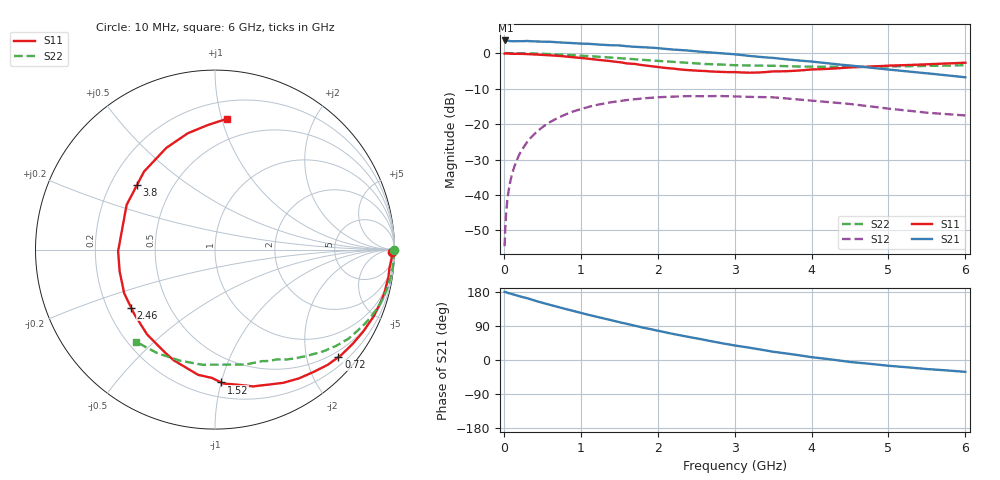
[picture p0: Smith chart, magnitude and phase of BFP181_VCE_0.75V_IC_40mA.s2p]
! Infineon Technologies  Discrete & RF Semiconductors
! BFP181
! VCE = 0.75V,  IC =  40 mA
! Common Emitter S-Parameters:  Jan 2016
# GHz  S  MA  R  50
!  f  S11  S21  S12  S22
! GHz  MAG  ANG  MAG  ANG  MAG  ANG  MAG  ANG
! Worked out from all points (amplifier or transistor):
!   210 points, 10 MHz to 6 GHz, reference 50 ohm
!   highest |S21| = 3.6 dB at 20 MHz (marker M1)
!   |S21| within 3 dB of that: start of sweep to 2.469 GHz
!   unconditionally stable (mu >= 1): 3.598 GHz to end of sweep
!   at 185 MHz: K = 0.07, MSG = 16.4 dB, |S12| = -29.4 dB
!   at 1.52 GHz: K = 0.51, MSG = 7.8 dB, |S12| = -13.5 dB
!   at 6 GHz: K = 1.65, MAG = 0.7 dB, |S12| = -17.6 dB
!   S11 on the Smith chart (normalised r, x): 10 MHz: open; 720 MHz: 0.37, -2.62; 1.52 GHz: 0.30, -1.00; 2.46 GHz: 0.30, -0.29; 3.8 GHz: 0.31, +0.33; 6 GHz: 0.33, +1.04
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0.01  0.9841 -0.7  1.49 179.8  0.0019 87.0  0.9982 -0.2
0.02  0.9912 -1.2  1.506 179.6  0.0038 84.4  0.9974 -0.6
0.03  0.9893 -1.7  1.5 178.8  0.0056 86.9  0.9975 -0.9
0.045  0.9866 -2.4  1.491 177.6  0.0084 88.6  0.9978 -1.4
0.08  0.9803 -4.6  1.476 175.5  0.0148 85.8  0.9971 -2.4
0.13  0.9775 -7.7  1.47 172.5  0.0238 83.7  0.996 -3.9
0.2  0.9746 -11.5  1.474 168.4  0.0369 81.8  0.9954 -6.0
0.4  0.959 -22.8  1.461 156.9  0.0729 73.4  0.986 -11.9
0.72  0.9118 -41.1  1.414 139.0  0.1247 59.8  0.9554 -21.1
1.02  0.851 -58.2  1.358 123.4  0.1646 48.0  0.9172 -29.0
1.3  0.7914 -74.4  1.307 109.6  0.1945 37.7  0.8777 -36.0
1.52  0.7407 -87.4  1.275 99.0  0.2117 30.5  0.8434 -40.8
2.02  0.6323 -117.3  1.169 76.5  0.239 16.1  0.7755 -50.2
2.46  0.5683 -145.3  1.069 58.8  0.2471 4.2  0.7205 -58.2
2.8  0.545 -167.1  1 45.4  0.2485 -3.6  0.6926 -63.6
3.1  0.5321 175.4  0.935 35.4  0.2429 -10.2  0.6712 -68.7
3.5  0.5517 153.2  0.855 21.8  0.2381 -17.8  0.6624 -75.3
3.8  0.5642 140.3  0.792 13.6  0.2235 -22.5  0.6484 -81.3
4.1  0.5915 128.8  0.739 5.2  0.2098 -27.2  0.6417 -87.6
4.5  0.6283 115.6  0.668 -5.2  0.1916 -32.8  0.6453 -96.3
5.1  0.6698 101.2  0.572 -16.8  0.1607 -35.9  0.6492 -109.9
6  0.7314 84.8  0.456 -31.3  0.132 -30.8  0.6764 -130.6
